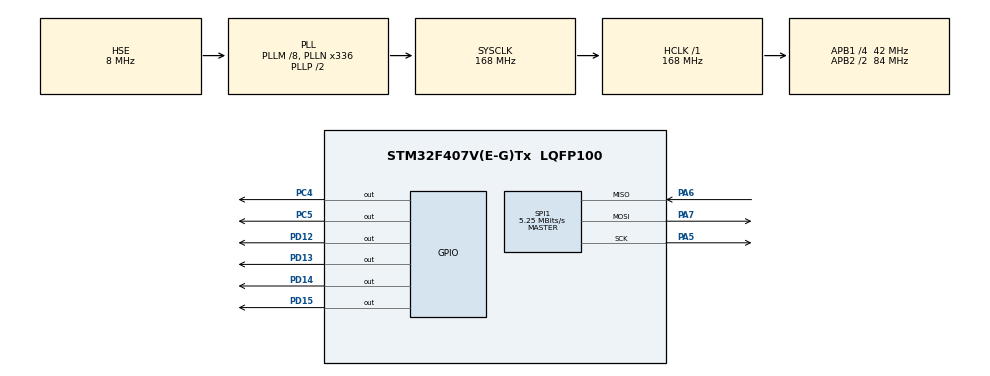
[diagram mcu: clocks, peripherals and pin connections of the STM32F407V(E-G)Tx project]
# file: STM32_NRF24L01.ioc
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Mcu.Family=STM32F4
Mcu.Name=STM32F407V(E-G)Tx
Mcu.Package=LQFP100
NVIC.PriorityGroup=NVIC_PRIORITYGROUP_0
PA13.Mode=Serial_Wire
PA13.Signal=SYS_JTMS-SWDIO
PA14.Mode=Serial_Wire
PA14.Signal=SYS_JTCK-SWCLK
PA5.Mode=Full_Duplex_Master
PA5.Signal=SPI1_SCK
PA6.Mode=Full_Duplex_Master
PA6.Signal=SPI1_MISO
PA7.Mode=Full_Duplex_Master
PA7.Signal=SPI1_MOSI
PC4.Signal=GPIO_Output
PC5.Signal=GPIO_Output
PD12.Signal=GPIO_Output
PD13.Signal=GPIO_Output
PD14.Signal=GPIO_Output
PD15.Signal=GPIO_Output
PH0-OSC_IN.Mode=HSE-External-Oscillator
PH0-OSC_IN.Signal=RCC_OSC_IN
PH1-OSC_OUT.Mode=HSE-External-Oscillator
PH1-OSC_OUT.Signal=RCC_OSC_OUT
ProjectManager.HeapSize=0x200
ProjectManager.StackSize=0x400
ProjectManager.TargetToolchain=STM32CubeIDE
RCC.48MHZClocksFreq_Value=48000000
RCC.AHBFreq_Value=168000000
RCC.APB1CLKDivider=RCC_HCLK_DIV4
RCC.APB1Freq_Value=42000000
RCC.APB1TimFreq_Value=84000000
RCC.APB2CLKDivider=RCC_HCLK_DIV2
RCC.APB2Freq_Value=84000000
RCC.APB2TimFreq_Value=168000000
RCC.CortexFreq_Value=168000000
RCC.HCLKFreq_Value=168000000
RCC.HSE_VALUE=8000000
RCC.HSI_VALUE=16000000
RCC.PLLM=8
RCC.PLLN=336
RCC.PLLQ=7
RCC.PLLSourceVirtual=RCC_PLLSOURCE_HSE
RCC.SYSCLKFreq_VALUE=168000000
RCC.SYSCLKSource=RCC_SYSCLKSOURCE_PLLCLK
RCC.VCOOutputFreq_Value=336000000
SPI1.BaudRatePrescaler=SPI_BAUDRATEPRESCALER_16
SPI1.CalculateBaudRate=5.25 MBits/s
SPI1.Direction=SPI_DIRECTION_2LINES
SPI1.Mode=SPI_MODE_MASTER
SPI1.VirtualType=VM_MASTER
board=STM32F407G-DISC1

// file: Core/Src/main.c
/* USER CODE BEGIN Header */
/**
  ******************************************************************************
  * @file           : main.c
  * @brief          : Main program body
  ******************************************************************************
  * @attention
  *
  * Copyright (c) 2025 STMicroelectronics.
  * All rights reserved.
  *
  * This software is licensed under terms that can be found in the LICENSE file
  * in the root directory of this software component.
  * If no LICENSE file comes with this software, it is provided AS-IS.
  *
  ******************************************************************************
  */
/* USER CODE END Header */
#include "main.h"

SPI_HandleTypeDef hspi1;

void SystemClock_Config(void);
static void MX_GPIO_Init(void);
static void MX_SPI1_Init(void);

/* USER CODE BEGIN 0 */

#include "NRF24L01.h"

#define CE_PORT 	GPIOC
#define CE_PIN  	GPIO_PIN_4

#define CS_PORT 	GPIOC
#define CS_PIN  	GPIO_PIN_5

uint8_t TxAddress[]={0xEE, 0xDD, 0xCC, 0xBB, 0xAA};
uint8_t TxData[]="Hello World\n";

/* USER CODE END 0 */

int main(void)
{

  /* MCU Configuration--------------------------------------------------------*/

  /* Reset of all peripherals, Initializes the Flash interface and the Systick. */
  HAL_Init();

  /* Configure the system clock */
  SystemClock_Config();

  /* Initialize all configured peripherals */
  MX_GPIO_Init();
  MX_SPI1_Init();
  /* USER CODE BEGIN 2 */

  NRF24L01 nrf24 = {
		  .hspi = &hspi1,
		  .CE={CE_PORT, CE_PIN},
		  .CS={CS_PORT, CS_PIN}
  };

  nrf24_init(&nrf24);

  nrf24_TxMode(&nrf24, TxAddress, 10);

  /* USER CODE END 2 */

  /* Infinite loop */
  while (1)
  {
    /* USER CODE BEGIN 3 */
	  if(nrf24_Transmit(&nrf24, TxData) == 1)
	  {
		  HAL_GPIO_TogglePin(GPIOD, GPIO_PIN_All);
	  }
	  HAL_Delay(1000);
  }
  /* USER CODE END 3 */
}

void SystemClock_Config(void)
{
  RCC_OscInitTypeDef RCC_OscInitStruct = {0};
  RCC_ClkInitTypeDef RCC_ClkInitStruct = {0};

  /** Configure the main internal regulator output voltage
  */
  __HAL_RCC_PWR_CLK_ENABLE();
  __HAL_PWR_VOLTAGESCALING_CONFIG(PWR_REGULATOR_VOLTAGE_SCALE1);

  /** Initializes the RCC Oscillators according to the specified parameters
  * in the RCC_OscInitTypeDef structure.
  */
  RCC_OscInitStruct.OscillatorType = RCC_OSCILLATORTYPE_HSE;
  RCC_OscInitStruct.HSEState = RCC_HSE_ON;
  RCC_OscInitStruct.PLL.PLLState = RCC_PLL_ON;
  RCC_OscInitStruct.PLL.PLLSource = RCC_PLLSOURCE_HSE;
  RCC_OscInitStruct.PLL.PLLM = 8;
  RCC_OscInitStruct.PLL.PLLN = 336;
  RCC_OscInitStruct.PLL.PLLP = RCC_PLLP_DIV2;
  RCC_OscInitStruct.PLL.PLLQ = 7;
  if (HAL_RCC_OscConfig(&RCC_OscInitStruct) != HAL_OK)
  {
    Error_Handler();
  }

  /** Initializes the CPU, AHB and APB buses clocks
  */
  RCC_ClkInitStruct.ClockType = RCC_CLOCKTYPE_HCLK|RCC_CLOCKTYPE_SYSCLK
                              |RCC_CLOCKTYPE_PCLK1|RCC_CLOCKTYPE_PCLK2;
  RCC_ClkInitStruct.SYSCLKSource = RCC_SYSCLKSOURCE_PLLCLK;
  RCC_ClkInitStruct.AHBCLKDivider = RCC_SYSCLK_DIV1;
  RCC_ClkInitStruct.APB1CLKDivider = RCC_HCLK_DIV4;
  RCC_ClkInitStruct.APB2CLKDivider = RCC_HCLK_DIV2;

  if (HAL_RCC_ClockConfig(&RCC_ClkInitStruct, FLASH_LATENCY_5) != HAL_OK)
  {
    Error_Handler();
  }
}

static void MX_SPI1_Init(void)
{

  /* SPI1 parameter configuration*/
  hspi1.Instance = SPI1;
  hspi1.Init.Mode = SPI_MODE_MASTER;
  hspi1.Init.Direction = SPI_DIRECTION_2LINES;
  hspi1.Init.DataSize = SPI_DATASIZE_8BIT;
  hspi1.Init.CLKPolarity = SPI_POLARITY_LOW;
  hspi1.Init.CLKPhase = SPI_PHASE_1EDGE;
  hspi1.Init.NSS = SPI_NSS_SOFT;
  hspi1.Init.BaudRatePrescaler = SPI_BAUDRATEPRESCALER_16;
  hspi1.Init.FirstBit = SPI_FIRSTBIT_MSB;
  hspi1.Init.TIMode = SPI_TIMODE_DISABLE;
  hspi1.Init.CRCCalculation = SPI_CRCCALCULATION_DISABLE;
  hspi1.Init.CRCPolynomial = 10;
  if (HAL_SPI_Init(&hspi1) != HAL_OK)
  {
    Error_Handler();
  }

}

static void MX_GPIO_Init(void)
{
  GPIO_InitTypeDef GPIO_InitStruct = {0};

  /* GPIO Ports Clock Enable */
  __HAL_RCC_GPIOH_CLK_ENABLE();
  __HAL_RCC_GPIOA_CLK_ENABLE();
  __HAL_RCC_GPIOC_CLK_ENABLE();
  __HAL_RCC_GPIOD_CLK_ENABLE();

  /*Configure GPIO pin Output Level */
  HAL_GPIO_WritePin(GPIOC, GPIO_PIN_4|GPIO_PIN_5, GPIO_PIN_RESET);

  /*Configure GPIO pin Output Level */
  HAL_GPIO_WritePin(GPIOD, GPIO_PIN_12|GPIO_PIN_13|GPIO_PIN_14|GPIO_PIN_15, GPIO_PIN_RESET);

  /*Configure GPIO pins : PC4 PC5 */
  GPIO_InitStruct.Pin = GPIO_PIN_4|GPIO_PIN_5;
  GPIO_InitStruct.Mode = GPIO_MODE_OUTPUT_PP;
  GPIO_InitStruct.Pull = GPIO_NOPULL;
  GPIO_InitStruct.Speed = GPIO_SPEED_FREQ_LOW;
  HAL_GPIO_Init(GPIOC, &GPIO_InitStruct);

  /*Configure GPIO pins : PD12 PD13 PD14 PD15 */
  GPIO_InitStruct.Pin = GPIO_PIN_12|GPIO_PIN_13|GPIO_PIN_14|GPIO_PIN_15;
  GPIO_InitStruct.Mode = GPIO_MODE_OUTPUT_PP;
  GPIO_InitStruct.Pull = GPIO_NOPULL;
  GPIO_InitStruct.Speed = GPIO_SPEED_FREQ_LOW;
  HAL_GPIO_Init(GPIOD, &GPIO_InitStruct);

}

void Error_Handler(void)
{
  __disable_irq();
  while (1)
  {
  }
}
